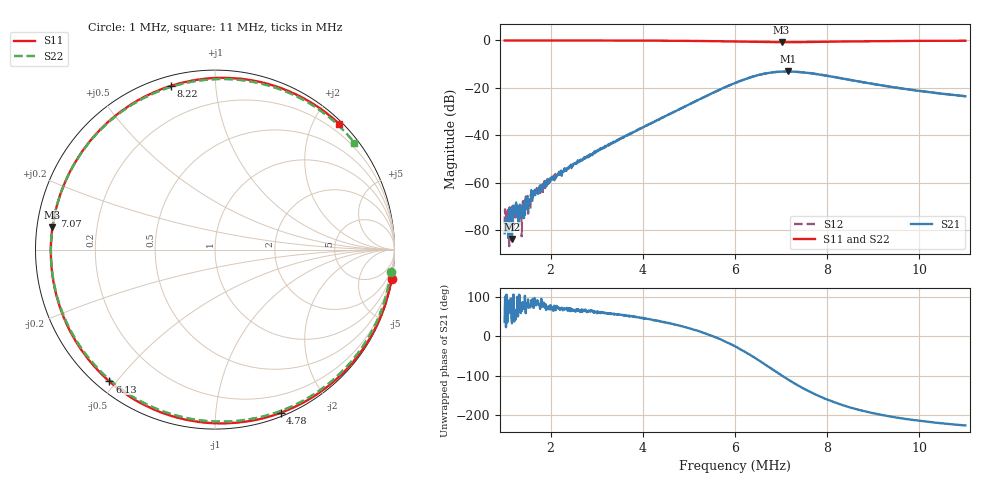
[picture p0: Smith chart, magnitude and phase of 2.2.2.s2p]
# MHz S DB R 50
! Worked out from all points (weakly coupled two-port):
!   1001 points, 1 MHz to 11 MHz, reference 50 ohm
!   highest |S21| = -13.11 dB at 7.15 MHz (marker M1); lowest = -83.9 dB at 1.16 MHz (marker M2)
!   lowest |S11| = -0.8 dB at 7.01 MHz (marker M3), VSWR 22.24, Z = 2.26 + j3.38 ohm
!   |S11| at or under -10 dB: nowhere
!   |S22| runs from -0.8 to -0.1 dB; largest |S21 - S12| = 0.0043
!   S11 on the Smith chart (normalised r, x): 1 MHz: 0, -12; 4.78 MHz: 0.03, -1.48; 6.13 MHz: 0.04, -0.48; 7.07 MHz: 0.05, +0.10; 8.22 MHz: 0.04, +0.76; 11 MHz: 0.05, +2.40
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1  -0.02 -9.6  -81.42 37.5  -78.01 -12.1  -0.11 -7.3
1.16  -0.03 -11.1  -83.87 33.3  -70.47 92.7  -0.12 -8.4
1.24  -0.03 -11.8  -72.36 43.0  -71.95 75.8  -0.12 -9.0
1.33  -0.04 -12.7  -69.38 71.8  -68.92 75.1  -0.12 -9.7
1.45  -0.03 -13.9  -67.19 79.6  -67.46 66.3  -0.12 -10.5
1.53  -0.03 -14.6  -68.34 75.5  -68.21 98.2  -0.12 -11.0
1.63  -0.04 -15.6  -65.51 72.5  -64.71 101.1  -0.12 -11.8
1.92  -0.04 -18.6  -61.24 75.4  -60.34 78.6  -0.12 -14.0
2.67  -0.05 -27.3  -50.83 69.1  -50.65 68.7  -0.10 -20.8
4.34  -0.13 -56.1  -33.48 39.2  -33.43 38.3  -0.17 -43.7
4.78  -0.17 -68.1  -29.19 28.1  -29.22 26.9  -0.20 -54.0
5.41  -0.29 -91.0  -23.16 5.3  -23.18 4.3  -0.30 -75.3
6  -0.48 -120.9  -17.98 -25.2  -17.97 -26.3  -0.48 -107.0
6.13  -0.53 -128.7  -16.97 -33.5  -16.97 -34.6  -0.53 -116.0
6.62  -0.71 -160.9  -14.12 -69.0  -14.12 -70.1  -0.73 -156.3
7.01  -0.78 172.2  -13.17 -99.3  -13.17 -100.3  -0.78 168.3
7.07  -0.78 168.2  -13.13 -103.8  -13.13 -104.9  -0.77 163.0
7.15  -0.77 162.9  -13.11 -109.8  -13.11 -110.8  -0.77 156.1
7.67  -0.66 131.4  -13.93 -143.9  -13.93 -145.0  -0.62 117.7
8.22  -0.49 105.2  -15.70 -170.7  -15.70 -171.8  -0.45 89.7
9.34  -0.27 71.0  -19.47 156.5  -19.47 155.4  -0.27 58.3
11  -0.14 45.3  -23.59 133.0  -23.59 131.9  -0.19 37.5
